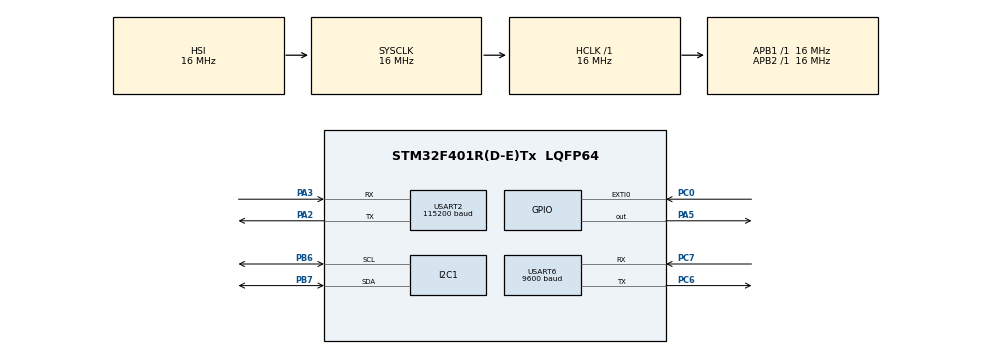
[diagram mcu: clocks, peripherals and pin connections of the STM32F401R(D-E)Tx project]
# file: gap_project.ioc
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Mcu.Family=STM32F4
Mcu.Name=STM32F401R(D-E)Tx
Mcu.Package=LQFP64
NVIC.EXTI0_IRQn=true\:0\:0\:false\:false\:true\:true\:true\:true
NVIC.PriorityGroup=NVIC_PRIORITYGROUP_4
NVIC.USART2_IRQn=true\:0\:0\:false\:false\:true\:true\:true\:true
NVIC.USART6_IRQn=true\:0\:0\:false\:false\:true\:true\:true\:true
PA2.Mode=Asynchronous
PA2.Signal=USART2_TX
PA3.Mode=Asynchronous
PA3.Signal=USART2_RX
PA5.Signal=GPIO_Output
PB6.Mode=I2C
PB6.Signal=I2C1_SCL
PB7.Mode=I2C
PB7.Signal=I2C1_SDA
PC0.Signal=GPXTI0
PC6.Mode=Asynchronous
PC6.Signal=USART6_TX
PC7.Mode=Asynchronous
PC7.Signal=USART6_RX
ProjectManager.HeapSize=0x200
ProjectManager.StackSize=0x400
ProjectManager.TargetToolchain=STM32CubeIDE
RCC.AHBFreq_Value=16000000
RCC.APB1Freq_Value=16000000
RCC.APB2Freq_Value=16000000
RCC.CortexFreq_Value=16000000
RCC.HSE_VALUE=25000000
RCC.HSI_VALUE=16000000
RCC.LSE_VALUE=32768
RCC.SYSCLKFreq_VALUE=16000000
RCC.VCOOutputFreq_Value=192000000
USART2.BaudRate=115200
USART2.Mode=MODE_TX
USART2.Parity=PARITY_NONE
USART2.VirtualMode=VM_ASYNC
USART2.WordLength=WORDLENGTH_8B
USART6.BaudRate=9600
USART6.Parity=PARITY_EVEN
USART6.VirtualMode=VM_ASYNC
USART6.WordLength=WORDLENGTH_9B
board=custom

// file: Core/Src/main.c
/* USER CODE BEGIN Header */
/**
  ******************************************************************************
  * @file           : main.c
  * @brief          : Main program body
  ******************************************************************************
  * @attention
  *
  * Copyright (c) 2025 STMicroelectronics.
  * All rights reserved.
  *
  * This software is licensed under terms that can be found in the LICENSE file
  * in the root directory of this software component.
  * If no LICENSE file comes with this software, it is provided AS-IS.
  *
  ******************************************************************************
  */
/* USER CODE END Header */
#include "main.h"

I2C_HandleTypeDef hi2c1;

UART_HandleTypeDef huart2;
UART_HandleTypeDef huart6;

void SystemClock_Config(void);
static void MX_GPIO_Init(void);
static void MX_USART2_UART_Init(void);
static void MX_USART6_UART_Init(void);
static void MX_I2C1_Init(void);

/* USER CODE BEGIN 0 */
uint8_t rx_buff[1024];
/* USER CODE END 0 */

int main(void)
{

  /* MCU Configuration--------------------------------------------------------*/

  /* Reset of all peripherals, Initializes the Flash interface and the Systick. */
  HAL_Init();

  /* Configure the system clock */
  SystemClock_Config();

  /* Initialize all configured peripherals */
  MX_GPIO_Init();
  MX_USART2_UART_Init();
  MX_USART6_UART_Init();
  MX_I2C1_Init();
  /* USER CODE BEGIN 2 */
  uart_set_handler(&huart2, &huart6);
  create_gapcom_instance(&huart6);
  init_test(&huart2);
  init_log(&huart2);
  init_mpu(&hi2c1);
  send_log(VERBOSITY_INFO, "GAP system booted");

  /* USER CODE END 2 */

  /* Infinite loop */
  while (1)
  {

    /* USER CODE BEGIN 3 */
	  read_fifo();
	  HAL_Delay(400);
  }
  /* USER CODE END 3 */
}

void SystemClock_Config(void)
{
  RCC_OscInitTypeDef RCC_OscInitStruct = {0};
  RCC_ClkInitTypeDef RCC_ClkInitStruct = {0};

  /** Configure the main internal regulator output voltage
  */
  __HAL_RCC_PWR_CLK_ENABLE();
  __HAL_PWR_VOLTAGESCALING_CONFIG(PWR_REGULATOR_VOLTAGE_SCALE2);

  /** Initializes the RCC Oscillators according to the specified parameters
  * in the RCC_OscInitTypeDef structure.
  */
  RCC_OscInitStruct.OscillatorType = RCC_OSCILLATORTYPE_HSI;
  RCC_OscInitStruct.HSIState = RCC_HSI_ON;
  RCC_OscInitStruct.HSICalibrationValue = RCC_HSICALIBRATION_DEFAULT;
  RCC_OscInitStruct.PLL.PLLState = RCC_PLL_NONE;
  if (HAL_RCC_OscConfig(&RCC_OscInitStruct) != HAL_OK)
  {
    Error_Handler();
  }

  /** Initializes the CPU, AHB and APB buses clocks
  */
  RCC_ClkInitStruct.ClockType = RCC_CLOCKTYPE_HCLK|RCC_CLOCKTYPE_SYSCLK
                              |RCC_CLOCKTYPE_PCLK1|RCC_CLOCKTYPE_PCLK2;
  RCC_ClkInitStruct.SYSCLKSource = RCC_SYSCLKSOURCE_HSI;
  RCC_ClkInitStruct.AHBCLKDivider = RCC_SYSCLK_DIV1;
  RCC_ClkInitStruct.APB1CLKDivider = RCC_HCLK_DIV1;
  RCC_ClkInitStruct.APB2CLKDivider = RCC_HCLK_DIV1;

  if (HAL_RCC_ClockConfig(&RCC_ClkInitStruct, FLASH_LATENCY_0) != HAL_OK)
  {
    Error_Handler();
  }
}

static void MX_I2C1_Init(void)
{

  hi2c1.Instance = I2C1;
  hi2c1.Init.ClockSpeed = 100000;
  hi2c1.Init.DutyCycle = I2C_DUTYCYCLE_2;
  hi2c1.Init.OwnAddress1 = 0;
  hi2c1.Init.AddressingMode = I2C_ADDRESSINGMODE_7BIT;
  hi2c1.Init.DualAddressMode = I2C_DUALADDRESS_DISABLE;
  hi2c1.Init.OwnAddress2 = 0;
  hi2c1.Init.GeneralCallMode = I2C_GENERALCALL_DISABLE;
  hi2c1.Init.NoStretchMode = I2C_NOSTRETCH_DISABLE;
  if (HAL_I2C_Init(&hi2c1) != HAL_OK)
  {
    Error_Handler();
  }

}

static void MX_USART2_UART_Init(void)
{

  huart2.Instance = USART2;
  huart2.Init.BaudRate = 115200;
  huart2.Init.WordLength = UART_WORDLENGTH_8B;
  huart2.Init.StopBits = UART_STOPBITS_1;
  huart2.Init.Parity = UART_PARITY_NONE;
  huart2.Init.Mode = UART_MODE_TX_RX;
  huart2.Init.HwFlowCtl = UART_HWCONTROL_NONE;
  huart2.Init.OverSampling = UART_OVERSAMPLING_16;
  if (HAL_UART_Init(&huart2) != HAL_OK)
  {
    Error_Handler();
  }

}

static void MX_USART6_UART_Init(void)
{

  huart6.Instance = USART6;
  huart6.Init.BaudRate = 9600;
  huart6.Init.WordLength = UART_WORDLENGTH_9B;
  huart6.Init.StopBits = UART_STOPBITS_1;
  huart6.Init.Parity = UART_PARITY_EVEN;
  huart6.Init.Mode = UART_MODE_TX_RX;
  huart6.Init.HwFlowCtl = UART_HWCONTROL_NONE;
  huart6.Init.OverSampling = UART_OVERSAMPLING_16;
  if (HAL_UART_Init(&huart6) != HAL_OK)
  {
    Error_Handler();
  }

}

static void MX_GPIO_Init(void)
{
  GPIO_InitTypeDef GPIO_InitStruct = {0};

  /* GPIO Ports Clock Enable */
  __HAL_RCC_GPIOC_CLK_ENABLE();
  __HAL_RCC_GPIOA_CLK_ENABLE();
  __HAL_RCC_GPIOB_CLK_ENABLE();

  /*Configure GPIO pin Output Level */
  HAL_GPIO_WritePin(GPIOA, GPIO_PIN_5, GPIO_PIN_RESET);

  /*Configure GPIO pin : PC0 */
  GPIO_InitStruct.Pin = GPIO_PIN_0;
  GPIO_InitStruct.Mode = GPIO_MODE_IT_RISING;
  GPIO_InitStruct.Pull = GPIO_NOPULL;
  HAL_GPIO_Init(GPIOC, &GPIO_InitStruct);

  /*Configure GPIO pin : PA5 */
  GPIO_InitStruct.Pin = GPIO_PIN_5;
  GPIO_InitStruct.Mode = GPIO_MODE_OUTPUT_PP;
  GPIO_InitStruct.Pull = GPIO_NOPULL;
  GPIO_InitStruct.Speed = GPIO_SPEED_FREQ_LOW;
  HAL_GPIO_Init(GPIOA, &GPIO_InitStruct);

  /* EXTI interrupt init*/
  HAL_NVIC_SetPriority(EXTI0_IRQn, 0, 0);
  HAL_NVIC_EnableIRQ(EXTI0_IRQn);

}

/* USER CODE BEGIN 4 */

void LED_On(void) {
    HAL_GPIO_WritePin(GPIOA, GPIO_PIN_5, GPIO_PIN_SET);
}

void LED_Off(void) {
    HAL_GPIO_WritePin(GPIOA, GPIO_PIN_5, GPIO_PIN_RESET);
}

HAL_StatusTypeDef uart_init(const UART_HandleTypeDef *huart) {
    if (huart == NULL) return HAL_ERROR;

    switch ((uint32_t)huart->Instance) {
        case USART2_BASE:
            MX_USART2_UART_Init();
            return HAL_OK;
        case USART6_BASE:
            MX_USART6_UART_Init();
            return HAL_OK;
        default:
            return HAL_ERROR;
    }
}

void HAL_UART_RxCpltCallback(UART_HandleTypeDef *huart)
{
	if (huart->Instance == USART6) {
		gapcom_uart_fsm_rx_callback();
	}

}

void HAL_GPIO_EXTI_Callback(uint16_t GPIO_Pin)
{
	if (GPIO_Pin == GPIO_PIN_0)
	{
		mpu_interrupt();
	}
}

/* USER CODE END 4 */

void Error_Handler(void)
{
  __disable_irq();
  while (1)
  {
  }
}
